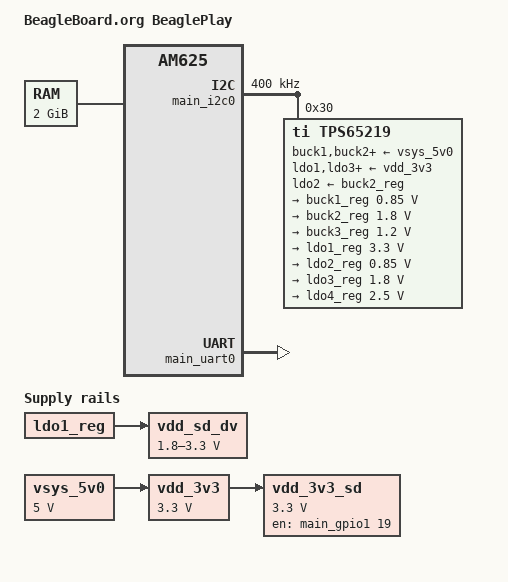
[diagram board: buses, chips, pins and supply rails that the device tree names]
// SPDX-License-Identifier: GPL-2.0
/*
 * AM625 beagleplay skeleton: https://beagleplay.org/
 *
 * Copyright (C) 2022-2023 Texas Instruments Incorporated - https://www.ti.com/
 */

/dts-v1/;

#include <dt-bindings/leds/common.h>
#include <dt-bindings/gpio/gpio.h>
#include "k3-am625.dtsi"

/ {
	compatible =  "beagle,am625-beagleplay", "ti,am625";
	model = "BeagleBoard.org BeaglePlay";

	aliases {
		serial2 = &main_uart0;
	};

	chosen {
		stdout-path = "serial2:115200n8";
	};

	cpus {
		/delete-node/ cpu@1;
		/delete-node/ cpu@2;
		/delete-node/ cpu@3;
	};

	memory@80000000 {
		device_type = "memory";
		/* 2G RAM */
		reg = <0x00000000 0x80000000 0x00000000 0x80000000>;
	};

	reserved-memory {
		#address-cells = <2>;
		#size-cells = <2>;
		ranges;

		ramoops: ramoops@9ca00000 {
			compatible = "ramoops";
			reg = <0x00 0x9c700000 0x00 0x00100000>;
			record-size = <0x8000>;
			console-size = <0x8000>;
			ftrace-size = <0x00>;
			pmsg-size = <0x8000>;
		};

		secure_tfa_ddr: tfa@9e780000 {
			reg = <0x00 0x9e780000 0x00 0x80000>;
			no-map;
		};

		secure_ddr: optee@9e800000 {
			reg = <0x00 0x9e800000 0x00 0x01800000>;
			no-map;
		};

		wkup_r5fss0_core0_dma_memory_region: r5f-dma-memory@9db00000 {
			compatible = "shared-dma-pool";
			reg = <0x00 0x9db00000 0x00 0xc00000>;
			no-map;
		};

	};

        vsys_5v0: regulator-1 {
                compatible = "regulator-fixed";
                regulator-name = "vsys_5v0";
                regulator-min-microvolt = <5000000>;
                regulator-max-microvolt = <5000000>;
                regulator-always-on;
                regulator-boot-on;
        };

        vdd_3v3: regulator-2 {
                /* output of TLV62595DMQR-U12 */
                compatible = "regulator-fixed";
                regulator-name = "vdd_3v3";
                regulator-min-microvolt = <3300000>;
                regulator-max-microvolt = <3300000>;
                vin-supply = <&vsys_5v0>;
                regulator-always-on;
                regulator-boot-on;
        };

        vdd_3v3_sd: regulator-4 {
                /* output of TPS22918DBVR-U21 */
                pinctrl-names = "default";
                pinctrl-0 = <&vdd_3v3_sd_pins_default>;

                compatible = "regulator-fixed";
                regulator-name = "vdd_3v3_sd";
                regulator-min-microvolt = <3300000>;
                regulator-max-microvolt = <3300000>;
                enable-active-high;
                regulator-always-on;
                vin-supply = <&vdd_3v3>;
                gpio = <&main_gpio1 19 GPIO_ACTIVE_HIGH>;
        };

        vdd_sd_dv: regulator-5 {
                compatible = "regulator-gpio";
                regulator-name = "sd_hs200_switch";
                pinctrl-names = "default";
                pinctrl-0 = <&vdd_sd_dv_pins_default>;
                regulator-min-microvolt = <1800000>;
                regulator-max-microvolt = <3300000>;
                regulator-boot-on;
                vin-supply = <&ldo1_reg>;
                gpios = <&main_gpio1 49 GPIO_ACTIVE_HIGH>;
                states = <1800000 0x0>,
                         <3300000 0x1>;
        };
};

&main_pmx0 {
        gpio0_pins_default: gpio0-pins-default {
                pinctrl-single,pins = <
                        AM62X_IOPAD(0x0004, PIN_INPUT, 7) /* (G25) OSPI0_LBCLKO.GPIO0_1 */
                        AM62X_IOPAD(0x0008, PIN_INPUT, 7) /* (J24) OSPI0_DQS.GPIO0_2 */
                        AM62X_IOPAD(0x000c, PIN_INPUT, 7) /* (E25) OSPI0_D0.GPIO0_3 */
                        AM62X_IOPAD(0x0010, PIN_INPUT, 7) /* (G24) OSPI0_D1.GPIO0_4 */
                        AM62X_IOPAD(0x0014, PIN_INPUT, 7) /* (F25) OSPI0_D2.GPIO0_5 */
                        AM62X_IOPAD(0x0018, PIN_INPUT, 7) /* (F24) OSPI0_D3.GPIO0_6 */
                        AM62X_IOPAD(0x0024, PIN_INPUT, 7) /* (H25) OSPI0_D6.GPIO0_9 */
                        AM62X_IOPAD(0x0028, PIN_INPUT, 7) /* (J22) OSPI0_D7.GPIO0_10 */
                        AM62X_IOPAD(0x002c, PIN_INPUT, 7) /* (F23) OSPI0_CSn0.GPIO0_11 */
                        AM62X_IOPAD(0x0030, PIN_INPUT, 7) /* (G21) OSPI0_CSn1.GPIO0_12 */
                        AM62X_IOPAD(0x0034, PIN_INPUT, 7) /* (H21) OSPI0_CSn2.GPIO0_13 */
                        AM62X_IOPAD(0x0038, PIN_INPUT, 7) /* (E24) OSPI0_CSn3.GPIO0_14 */
                        AM62X_IOPAD(0x00a4, PIN_INPUT, 7) /* (M22) GPMC0_DIR.GPIO0_40 */
                        AM62X_IOPAD(0x00ac, PIN_INPUT, 7) /* (L21) GPMC0_CSn1.GPIO0_42 */
                >;
        };

        vdd_sd_dv_pins_default: vdd-sd-pins-default {
                pinctrl-single,pins = <
                        AM62X_IOPAD(0x0244, PIN_OUTPUT, 7) /* (C17) MMC1_SDWP.GPIO1_49 */
                >;
        };

        vdd_3v3_sd_pins_default: vdd-3v3-sd-pins-default {
                pinctrl-single,pins = <
                        AM62X_IOPAD(0x01c4, PIN_INPUT, 7) /* (B14) SPI0_D1_GPIO1_19 */
                >;
        };

        sd_pins_default: sd-pins-default {
                pinctrl-single,pins = <
                        AM62X_IOPAD(0x023c, PIN_INPUT, 0) /* (A21) MMC1_CMD */
                        AM62X_IOPAD(0x0234, PIN_INPUT, 0) /* (B22) MMC1_CLK */
                        AM62X_IOPAD(0x0230, PIN_INPUT, 0) /* (A22) MMC1_DAT0 */
                        AM62X_IOPAD(0x022c, PIN_INPUT, 0) /* (B21) MMC1_DAT1 */
                        AM62X_IOPAD(0x0228, PIN_INPUT, 0) /* (C21) MMC1_DAT2 */
                        AM62X_IOPAD(0x0224, PIN_INPUT, 0) /* (D22) MMC1_DAT3 */
                        AM62X_IOPAD(0x0240, PIN_INPUT, 7) /* (D17) MMC1_SDCD.GPIO1_48 */
                >;
        };

        local_i2c_pins_default: local-i2c-pins-default {
                pinctrl-single,pins = <
                        AM62X_IOPAD(0x01e0, PIN_INPUT_PULLUP, 0) /* (B16) I2C0_SCL */
                        AM62X_IOPAD(0x01e4, PIN_INPUT_PULLUP, 0) /* (A16) I2C0_SDA */
                >;
        };

        console_pins_default: console-pins-default {
                pinctrl-single,pins = <
                        AM62X_IOPAD(0x01c8, PIN_INPUT, 0) /* (D14) UART0_RXD */
                        AM62X_IOPAD(0x01cc, PIN_OUTPUT, 0) /* (E14) UART0_TXD */
                >;
        };

        pmic_irq_pins_default: pmic-irq-pins-default {
                pinctrl-single,pins = <
                        AM62X_IOPAD(0x01f4, PIN_INPUT_PULLUP, 0) /* (D16) EXTINTn */
                >;
        };

};

&a53_opp_table {
        /* Requires VDD_CORE to be at 0.85V */
        opp-1400000000 {
                opp-hz = /bits/ 64 <1400000000>;
                opp-supported-hw = <0x01 0x0004>;
        };
};

/* cbass_main */
/* cbass_wkup */

&wkup_i2c0 {
	status = "disabled";
};

&wkup_uart0 {
	/* WKUP UART0 is used by DM firmware */
	status = "reserved";
};

/* wkup_conf */

&wkup_rtc0 {
	status = "disabled";
};

&wkup_rti0 {
	/* WKUP RTI0 is used by DM firmware */
	status = "reserved";
};

&cbass_mcu {
	status = "disabled";
};

/* dmss */

&main_pktdma {
	status = "disabled";
};

&main_bcdma {
	status = "disabled";
};

/* inta_main_dmss */
/* secure_proxy_main */

&fss {
	status = "disabled";
};

&main_mcan0 {
	status = "disabled";
};

&crypto {
	status = "disabled";
};

&usbss0 {
	status = "disabled";
};

&usbss1 {
	status = "disabled";
};

&cpsw3g {
	status = "disabled";
};

&main_gpio0 {
	status = "disabled";
};

&main_gpio1 {
	status = "disabled";
};

&main_i2c0 {
        pinctrl-names = "default";
        pinctrl-0 = <&local_i2c_pins_default>;
        clock-frequency = <400000>;
        status = "okay";

        tps65219: pmic@30 {
                compatible = "ti,tps65219";
                reg = <0x30>;
                buck1-supply = <&vsys_5v0>;
                buck2-supply = <&vsys_5v0>;
                buck3-supply = <&vsys_5v0>;
                ldo1-supply = <&vdd_3v3>;
                ldo2-supply = <&buck2_reg>;
                ldo3-supply = <&vdd_3v3>;
                ldo4-supply = <&vdd_3v3>;

                pinctrl-names = "default";
                pinctrl-0 = <&pmic_irq_pins_default>;
                interrupt-parent = <&gic500>;
                interrupts = <GIC_SPI 224 IRQ_TYPE_LEVEL_HIGH>;
                interrupt-controller;
                #interrupt-cells = <1>;

                system-power-controller;
                ti,power-button;

                regulators {
                        buck1_reg: buck1 {
                                regulator-name = "VDD_CORE";
                                regulator-min-microvolt = <850000>;
                                regulator-max-microvolt = <850000>;
                                regulator-boot-on;
                                regulator-always-on;
                        };

                        buck2_reg: buck2 {
                                regulator-name = "VDD_1V8";
                                regulator-min-microvolt = <1800000>;
                                regulator-max-microvolt = <1800000>;
                                regulator-boot-on;
                                regulator-always-on;
                        };

                        buck3_reg: buck3 {
                                regulator-name = "VDD_1V2";
                                regulator-min-microvolt = <1200000>;
                                regulator-max-microvolt = <1200000>;
                                regulator-boot-on;
                                regulator-always-on;
                        };

                        ldo1_reg: ldo1 {
                                /*
                                 * Regulator is left as is unused, vdd_sd
                                 * is controlled via GPIO with bypass config
                                 * as per the NVM configuration
                                 */
                                regulator-name = "VDD_SD_3V3";
                                regulator-min-microvolt = <3300000>;
                                regulator-max-microvolt = <3300000>;
                                regulator-allow-bypass;
                                regulator-boot-on;
                                regulator-always-on;
                        };

                        ldo2_reg: ldo2 {
                                regulator-name = "VDDA_0V85";
                                regulator-min-microvolt = <850000>;
                                regulator-max-microvolt = <850000>;
                                regulator-boot-on;
                                regulator-always-on;
                        };

                        ldo3_reg: ldo3 {
                                regulator-name = "VDDA_1V8";
                                regulator-min-microvolt = <1800000>;
                                regulator-max-microvolt = <1800000>;
                                regulator-boot-on;
                                regulator-always-on;
                        };

                        ldo4_reg: ldo4 {
                                regulator-name = "VDD_2V5";
                                regulator-min-microvolt = <2500000>;
                                regulator-max-microvolt = <2500000>;
                                regulator-boot-on;
                                regulator-always-on;
                        };
                };
        };
};

&main_i2c1 {
	status = "disabled";
};

&main_i2c2 {
	status = "disabled";
};

&main_i2c3 {
	status = "disabled";
};

/* gic500 */
/* gic_its */
/* main_gpio_intr */

&mailbox0_cluster0 {
	mbox_m4_0: mbox-m4-0 {
		ti,mbox-rx = <0 0 0>;
		ti,mbox-tx = <1 0 0>;
	};
};

&mcasp0 {
	status = "disabled";
};

&mcasp1 {
	status = "disabled";
};

&mcasp2 {
	status = "disabled";
};

&sdhci1 {
	status = "disabled";
};

&sdhci0 {
	status = "disabled";
};

&sdhci2 {
	status = "disabled";
};

&epwm0 {
	status = "disabled";
};

&epwm1 {
	status = "disabled";
};

&epwm2 {
	status = "disabled";
};

&main_uart0 {
	pinctrl-names = "default";
	pinctrl-0 = <&console_pins_default>;
	status = "okay";
};

&main_uart1 {
	/* Main UART1 is used by TIFS firmware */
	status = "reserved";
};

&main_uart2 {
	status = "disabled";
};

&main_uart3 {
	status = "disabled";
};

&main_uart4 {
	status = "disabled";
};

&main_uart5 {
	status = "disabled";
};

&main_uart6 {
	status = "disabled";
};

&main_spi0 {
	status = "disabled";
};

&main_spi1 {
	status = "disabled";
};

&main_spi2 {
	status = "disabled";
};

&main_rti0 {
	status = "disabled";
};

&main_rti1 {
	status = "disabled";
};

&main_rti2 {
	status = "disabled";
};

&main_rti3 {
	status = "disabled";
};

&main_rti15 {
	status = "disabled";
};

/* hwspinlock */
/* oc_sram */
/* main_conf */
/* epwm_tbclk */
/* phy_gmii_sel */
/* dmsc */

&cluster0 {
	/delete-node/ core1;
	/delete-node/ core2;
	/delete-node/ core3;
};

/* L2_0 */
/* pmu */
/* a53_timer0 */
